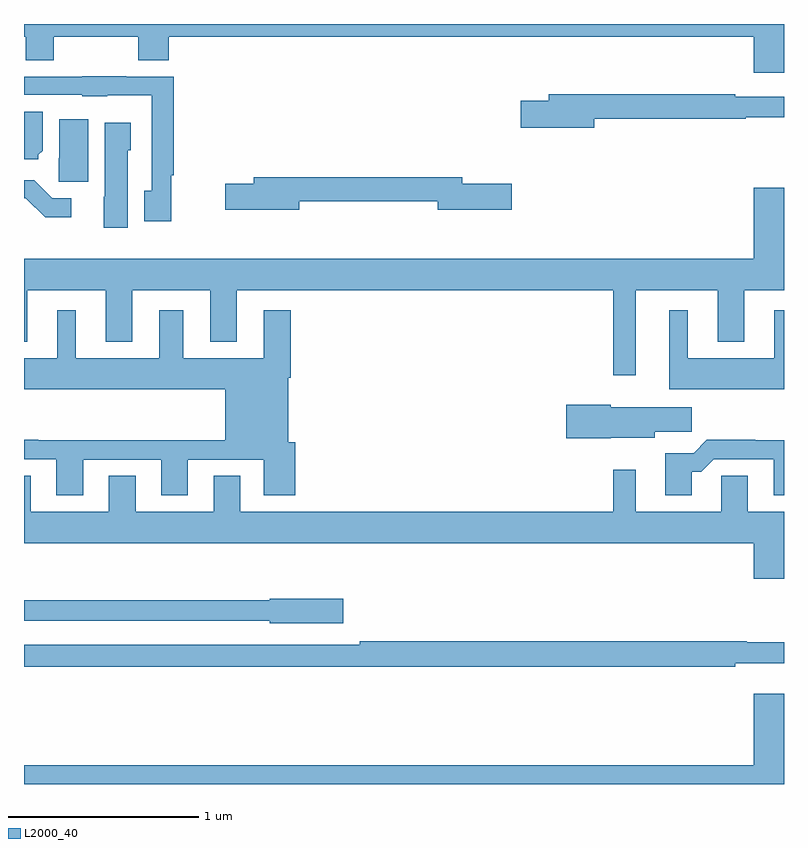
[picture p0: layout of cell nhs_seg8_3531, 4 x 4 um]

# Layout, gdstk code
import gdstk
lib = gdstk.Library(unit=1e-6, precision=1e-09)
def P(c, l, *ps):  # polygons
    for p in ps: c.add(gdstk.Polygon(p, *l))
L2000_40 = (2000, 40)

nhs_seg8_3531 = lib.new_cell('nhs_seg8_3531')
P(nhs_seg8_3531, L2000_40, [(333,1117.9),(329,1117.9),(329,1117.832),(329.009,1117.832),(329.009,1117.708),(329.157,1117.708),(329.157,1117.832),(329.602,1117.832),(329.602,1117.708),(329.762,1117.708),(329.762,1117.832),(332.84,1117.832),(332.84,1117.644),(333,1117.644)],
  [(329.774,1117.105),(329.789,1117.105),(329.789,1117.623),(329.539,1117.623),(329.539,1117.625),(329.307,1117.625),(329.307,1117.623),(329,1117.623),(329,1117.527),(329.307,1117.527),(329.307,1117.52),(329.439,1117.52),(329.439,1117.526),(329.673,1117.526),(329.673,1117.022),(329.633,1117.022),(329.633,1116.861),(329.774,1116.861)],
  [(332.002,1117.402),(332.798,1117.402),(332.798,1117.41),(333,1117.41),(333,1117.518),(332.744,1117.518),(332.744,1117.531),(331.763,1117.531),(331.763,1117.497),(331.614,1117.497),(331.614,1117.355),(332.002,1117.355)],
  [(329.076,1117.212),(329.098,1117.234),(329.098,1117.438),(329,1117.438),(329,1117.187),(329.076,1117.187)],
  [(329.338,1117.399),(329.186,1117.399),(329.186,1117.194),(329.182,1117.194),(329.182,1117.071),(329.338,1117.071)],
  [(329.545,1117.236),(329.563,1117.236),(329.563,1117.381),(329.426,1117.381),(329.426,1116.99),(329.42,1116.99),(329.42,1116.828),(329.545,1116.828)],
  [(330.448,1116.966),(331.178,1116.966),(331.178,1116.923),(331.567,1116.923),(331.567,1117.058),(331.306,1117.058),(331.306,1117.094),(330.209,1117.094),(330.209,1117.058),(330.06,1117.058),(330.06,1116.923),(330.448,1116.923)],
  [(329.248,1116.984),(329.148,1116.984),(329.054,1117.078),(329,1117.078),(329,1116.984),(329.01,1116.984),(329.113,1116.882),(329.248,1116.882)],
  [(332.221,1116.5),(332.651,1116.5),(332.651,1116.227),(332.791,1116.227),(332.791,1116.5),(333,1116.5),(333,1117.039),(332.84,1117.039),(332.84,1116.664),(329,1116.664),(329,1116.227),(329.017,1116.227),(329.017,1116.5),(329.429,1116.5),(329.429,1116.227),(329.569,1116.227),(329.569,1116.5),(329.981,1116.5),(329.981,1116.227),(330.121,1116.227),(330.121,1116.5),(332.1,1116.5),(332.1,1116.051),(332.221,1116.051)],
  [(333,1116.394),(332.948,1116.394),(332.948,1116.142),(332.494,1116.142),(332.494,1116.394),(332.396,1116.394),(332.396,1115.978),(333,1115.978)],
  [(329.311,1115.607),(329.723,1115.607),(329.723,1115.421),(329.863,1115.421),(329.863,1115.607),(330.263,1115.607),(330.263,1115.421),(330.428,1115.421),(330.428,1115.7),(330.391,1115.7),(330.391,1116.038),(330.404,1116.038),(330.404,1116.394),(330.263,1116.394),(330.263,1116.142),(329.839,1116.142),(329.839,1116.394),(329.711,1116.394),(329.711,1116.142),(329.272,1116.142),(329.272,1116.394),(329.174,1116.394),(329.174,1116.142),(329,1116.142),(329,1115.978),(330.059,1115.978),(330.059,1115.708),(329.075,1115.708),(329.075,1115.711),(329,1115.711),(329,1115.61),(329.171,1115.61),(329.171,1115.421),(329.311,1115.421)],
  [(332.088,1115.723),(332.32,1115.723),(332.32,1115.755),(332.515,1115.755),(332.515,1115.884),(332.088,1115.884),(332.088,1115.897),(331.854,1115.897),(331.854,1115.719),(332.088,1115.719)],
  [(332.515,1115.543),(332.564,1115.543),(332.631,1115.61),(332.945,1115.61),(332.945,1115.421),(333,1115.421),(333,1115.708),(332.849,1115.708),(332.849,1115.711),(332.594,1115.711),(332.524,1115.641),(332.375,1115.641),(332.375,1115.421),(332.515,1115.421)],
  [(333,1115.332),(332.809,1115.332),(332.809,1115.522),(332.67,1115.522),(332.67,1115.332),(332.221,1115.332),(332.221,1115.554),(332.1,1115.554),(332.1,1115.332),(330.139,1115.332),(330.139,1115.522),(329.999,1115.522),(329.999,1115.332),(329.587,1115.332),(329.587,1115.522),(329.447,1115.522),(329.447,1115.332),(329.035,1115.332),(329.035,1115.522),(329,1115.522),(329,1115.168),(332.84,1115.168),(332.84,1114.98),(333,1114.98)],
  [(330.679,1114.875),(330.294,1114.875),(330.294,1114.867),(329,1114.867),(329,1114.758),(330.294,1114.758),(330.294,1114.745),(330.679,1114.745)],
  [(332.744,1114.535),(333,1114.535),(333,1114.645),(332.803,1114.645),(332.803,1114.652),(330.766,1114.652),(330.766,1114.632),(329,1114.632),(329,1114.516),(332.744,1114.516)],
  [(333,1114.375),(332.84,1114.375),(332.84,1114),(329,1114),(329,1113.9),(333,1113.9)])

lib.write_gds('nhs_seg8_3531.gds')
